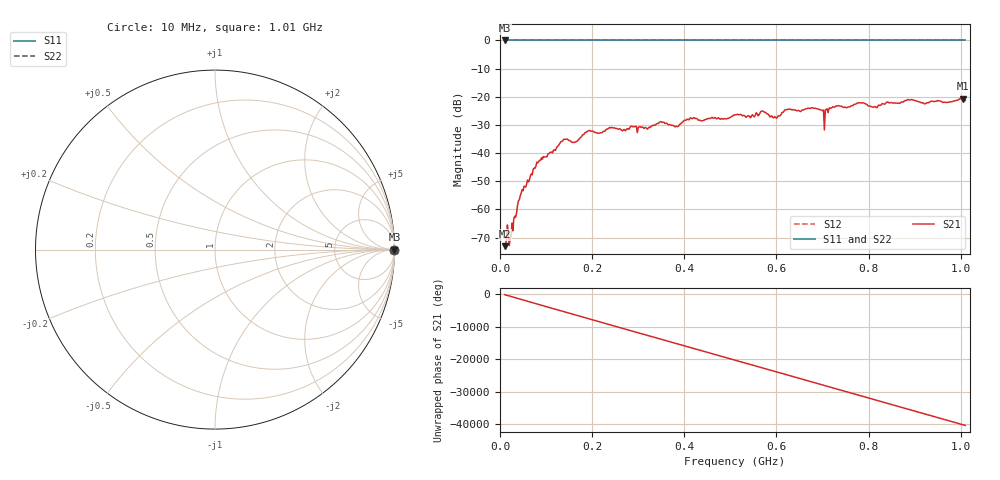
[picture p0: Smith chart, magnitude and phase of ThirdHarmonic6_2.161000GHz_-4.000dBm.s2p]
! 8/17/2025 1:47:29 AM
! C:\ANRITSUVNA\TEMP\TEMP.S2P
! CHANNEL.1
! TR.MEASUREMENT
! RAW.DATA
! RF.CORRECTION.OFF
! AVERAGING.OFF
! IF.BANDWIDTH: 5KHZ
! SWEEPTYPE:  FREQ.SWEEP(Linear)
! Reference Plane Port Info
! PORT:  PORT1  PORT2
! DISTANCE:  0  m  0  m
! TIME:  0  s  0  s
! PHASE.OFFSET:  0  deg.  0  deg.
! LOSS:  0  dB  0  dB
! REF.LOSS:  0  dB  0  dB
! REF.FREQ:  0  Hz  0  Hz
! Power Info
! POWER:  -20  dBm  -20  dBm
! EFF.POWER:  -20  dBm  -20  dBm
! SOURCE.ATTEN:  0  dB  0  dB
! TEST.ATTEN:  0  dB  0  dB
# GHZ S RI R 50.0
! FREQ.GHZ  S11RE  S11IM  S21RE  S21IM  S12RE  S12IM  S22RE  S22IM
!; PortSelection: Port_12
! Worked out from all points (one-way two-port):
!   501 points, 10 MHz to 1.01 GHz, reference 50 ohm
!   highest |S21| = -20.67 dB at 1.004 GHz (marker M1); lowest = -73.1 dB at 10 MHz (marker M2)
!   lowest |S11| = 0.0 dB at 10 MHz (marker M3)
!   |S11| at or under -10 dB: nowhere
!   |S22| runs from 0.0 to 0.0 dB; largest |S21 - S12| = 1.1
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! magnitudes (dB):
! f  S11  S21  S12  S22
! 10 MHz  0.0  -73.1  0.0  0.0
! 14 MHz  0.0  -70.8  0.0  0.0
! 24 MHz  0.0  -69.6  0.0  0.0
! 48 MHz  0.0  -53.0  0.0  0.0
! 82 MHz  0.0  -43.5  0.0  0.0
! 136 MHz  0.0  -35.7  0.0  0.0
! 162 MHz  0.0  -36.2  0.0  0.0
! 178 MHz  0.0  -33.8  0.0  0.0
! 194 MHz  0.0  -31.9  0.0  0.0
! 344 MHz  0.0  -29.5  0.0  0.0
! 384 MHz  0.0  -30.5  0.0  0.0
! 416 MHz  0.0  -27.8  0.0  0.0
! 510 MHz  0.0  -26.4  0.0  0.0
! 570 MHz  0.0  -25.1  0.0  0.0
! 596 MHz  0.0  -27.0  0.0  0.0
! 622 MHz  0.0  -24.6  0.0  0.0
! 678 MHz  0.0  -23.9  0.0  0.0
! 708 MHz  0.0  -24.5  0.0  0.0
! 732 MHz  0.0  -23.3  0.0  0.0
! 844 MHz  0.0  -22.1  0.0  0.0
! 1.004 GHz  0.0  -20.7  0.0  0.0
! 1.01 GHz  0.0  -21.3  0.0  0.0
